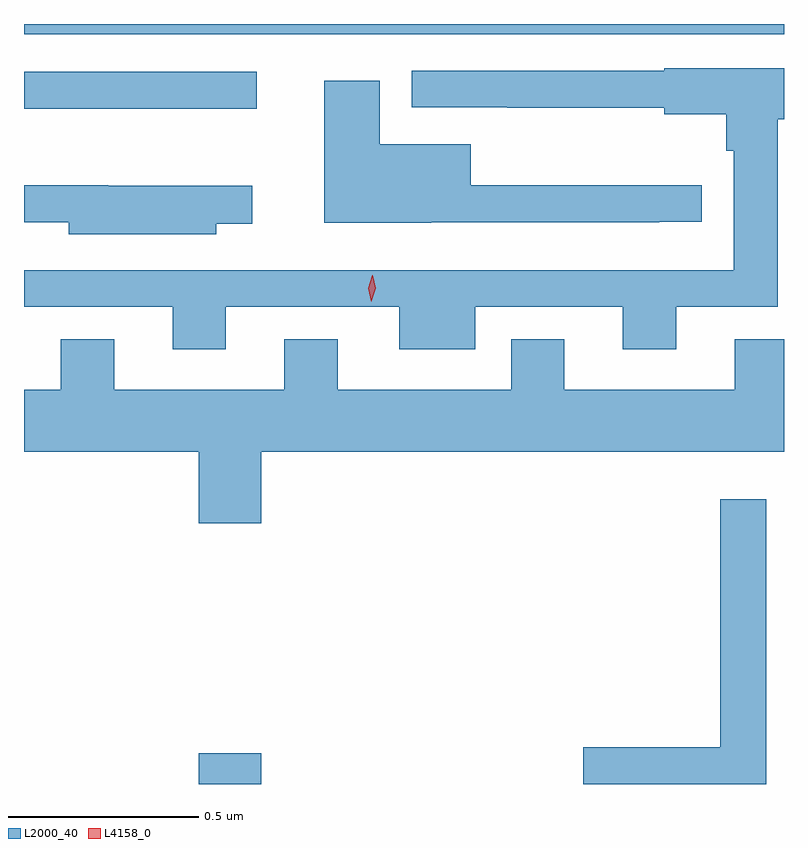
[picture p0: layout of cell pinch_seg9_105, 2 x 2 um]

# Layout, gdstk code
import gdstk
lib = gdstk.Library(unit=1e-6, precision=1e-09)
def R(c, l, rs):  # rectangles x0, y0, x1, y1
    for r in rs: c.add(gdstk.rectangle(r[:2], r[2:], *l))
def P(c, l, *ps):  # polygons
    for p in ps: c.add(gdstk.Polygon(p, *l))
L2000_40 = (2000, 40)
L4158_0 = (4158, 0)

pinch_seg9_105 = lib.new_cell('pinch_seg9_105')
R(pinch_seg9_105, L2000_40, [(1076.096,1194.214,1076.26,1194.295), (1075.636,1195.991,1076.248,1196.088), (1075.636,1196.187,1077.636,1196.214)])
P(pinch_seg9_105, L2000_40, [(1076.167,1195.47),(1076.624,1195.47),(1076.624,1195.358),(1076.824,1195.358),(1076.824,1195.47),(1077.212,1195.47),(1077.212,1195.358),(1077.352,1195.358),(1077.352,1195.47),(1077.62,1195.47),(1077.62,1195.964),(1077.636,1195.964),(1077.636,1196.098),(1077.321,1196.098),(1077.321,1196.091),(1076.657,1196.091),(1076.657,1195.995),(1076.908,1195.995),(1076.908,1195.994),(1077.321,1195.994),(1077.321,1195.976),(1077.484,1195.976),(1077.484,1195.88),(1077.504,1195.88),(1077.504,1195.566),(1075.636,1195.566),(1075.636,1195.47),(1076.027,1195.47),(1076.027,1195.358),(1076.167,1195.358)],
  [(1076.708,1195.692),(1077.308,1195.692),(1077.308,1195.693),(1077.419,1195.693),(1077.419,1195.79),(1076.812,1195.79),(1076.812,1195.897),(1076.572,1195.897),(1076.572,1196.065),(1076.426,1196.065),(1076.426,1195.691),(1076.708,1195.691)],
  [(1076.142,1195.688),(1076.236,1195.688),(1076.236,1195.789),(1075.858,1195.789),(1075.858,1195.79),(1075.636,1195.79),(1075.636,1195.692),(1075.754,1195.692),(1075.754,1195.661),(1076.142,1195.661)],
  [(1076.26,1195.088),(1077.636,1195.088),(1077.636,1195.385),(1077.506,1195.385),(1077.506,1195.252),(1077.058,1195.252),(1077.058,1195.385),(1076.918,1195.385),(1076.918,1195.252),(1076.461,1195.252),(1076.461,1195.385),(1076.321,1195.385),(1076.321,1195.252),(1075.873,1195.252),(1075.873,1195.385),(1075.733,1195.385),(1075.733,1195.252),(1075.636,1195.252),(1075.636,1195.088),(1076.096,1195.088),(1076.096,1194.9),(1076.26,1194.9)],
  [(1077.589,1194.964),(1077.468,1194.964),(1077.468,1194.311),(1077.108,1194.311),(1077.108,1194.214),(1077.589,1194.214)])
P(pinch_seg9_105, L4158_0, [(1076.55,1195.483),(1076.55,1195.483),(1076.542,1195.519),(1076.553,1195.553),(1076.554,1195.553),(1076.554,1195.553),(1076.562,1195.518),(1076.55,1195.483)])

lib.write_gds('pinch_seg9_105.gds')
